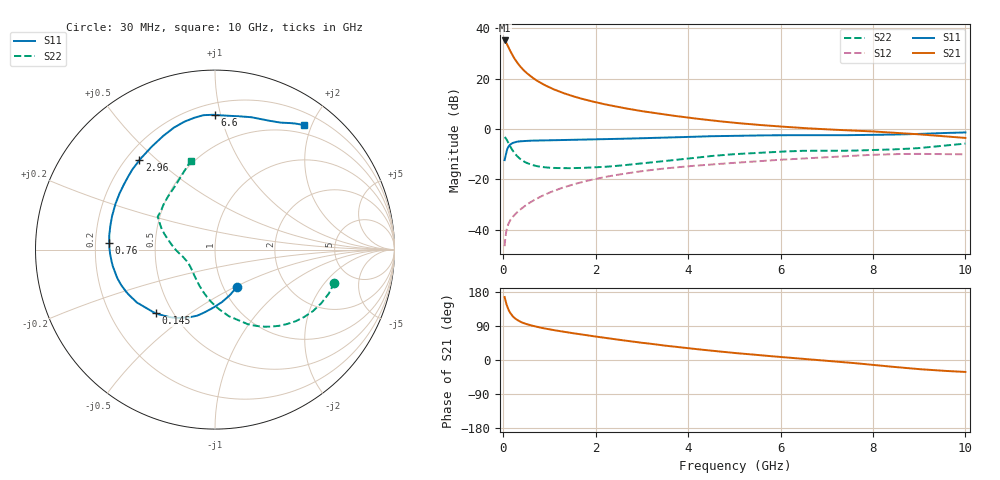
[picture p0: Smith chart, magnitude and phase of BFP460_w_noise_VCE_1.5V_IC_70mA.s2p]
! (c) 2016  Infineon Technologies AG, Munich
! Infineon Technologies  Discrete & RF Semiconductors
! BFP460
! VCE =  1.5 V,  IC =  70 mA
! Common Emitter S-Parameters:  Jan 2016
# GHz  S  MA  R  50
!  f  S11  S21  S12  S22
! GHz  MAG  ANG  MAG  ANG  MAG  ANG  MAG  ANG
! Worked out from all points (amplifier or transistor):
!   229 points, 30 MHz to 10 GHz, reference 50 ohm
!   highest |S21| = 35.1 dB at 30 MHz (marker M1)
!   |S21| within 3 dB of that: start of sweep to 121.4 MHz
!   unconditionally stable (mu >= 1): 560.3 MHz to end of sweep
!   at 280 MHz: K = 0.81, MSG = 30.2 dB, |S12| = -33.5 dB
!   at 1.78 GHz: K = 1.11, MAG = 14.1 dB, |S12| = -20.8 dB
!   at 10 GHz: K = 1.01, MAG = 2.8 dB, |S12| = -10.1 dB
!   lowest NFmin = 2.03 dB at 3.5 GHz
!   S11 on the Smith chart (normalised r, x): 30 MHz: 1.16, -0.51; 145 MHz: 0.40, -0.37; 760 MHz: 0.26, +0.03; 2.96 GHz: 0.25, +0.44; 6.6 GHz: 0.28, +0.96; 10 GHz: 0.37, +1.88
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0.03  0.2405 -59.1  57.19 166.1  0.0047 82.3  0.6903 -15.4
0.05  0.2939 -82.1  54.12 155.8  0.0073 75.2  0.6628 -26.9
0.07  0.3548 -99.5  50.63 147.3  0.0096 69.1  0.6224 -37.2
0.08  0.3809 -105.0  48.69 143.7  0.0105 67.7  0.6 -41.8
0.09  0.4055 -111.2  46.56 140.0  0.0113 65.8  0.5767 -46.0
0.11  0.4403 -120.0  42.68 133.9  0.0129 63.0  0.5318 -53.8
0.145  0.4844 -133.0  36.52 125.5  0.015 59.9  0.4615 -65.0
0.2  0.5253 -145.8  29.17 116.1  0.0178 58.2  0.3787 -78.3
0.26  0.5481 -154.7  23.7 109.4  0.0203 58.7  0.3186 -88.8
0.3  0.5587 -159.3  20.9 105.7  0.0221 59.3  0.2889 -94.9
0.4  0.5713 -167.4  16.11 99.3  0.0264 61.3  0.241 -106.6
0.5  0.5797 -173.2  13.07 94.9  0.0309 63.0  0.2132 -115.4
0.76  0.59 176.6  8.758 86.7  0.0429 65.3  0.1805 -131.0
1.1  0.5982 167.0  6.086 78.7  0.0592 65.5  0.1681 -143.2
1.7  0.6117 153.6  3.976 67.3  0.0878 62.5  0.1684 -155.4
2.96  0.6524 130.2  2.29 46.1  0.1434 51.6  0.2058 -175.8
3.4  0.6684 123.1  1.991 39.6  0.1604 47.4  0.226 178.2
5.1  0.7349 102.5  1.301 17.6  0.2155 33.7  0.3193 158.6
6.6  0.7503 90.1  1.028 2.0  0.2615 22.3  0.3683 149.7
6.8  0.749 88.2  1.004 0.1  0.2678 20.9  0.3685 149.0
8.4  0.7727 69.6  0.848 -17.6  0.3153 6.0  0.3913 133.2
10  0.852 54.6  0.663 -31.5  0.3131 -6.7  0.5123 105.4
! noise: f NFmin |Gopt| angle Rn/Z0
0.45  2.18  0.41  -169  0.13
0.9  2.25  0.38  -159  0.14
1.9  2.41  0.49  -138  0.2
3.5  2.03  0.78  -114  0.43
